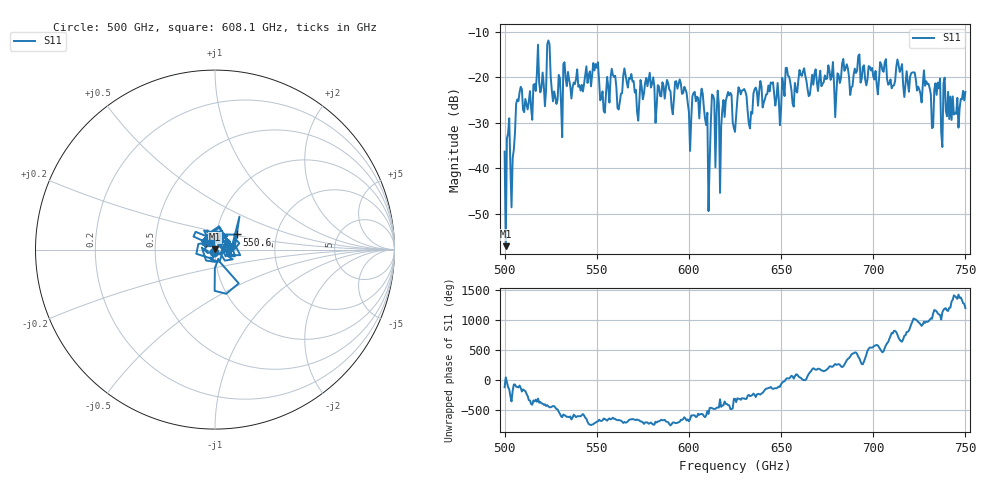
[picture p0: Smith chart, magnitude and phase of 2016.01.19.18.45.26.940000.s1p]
!Created with skrf (http://scikit-rf.org).
# GHz S RI R 50.0
!freq ReS11 ImS11
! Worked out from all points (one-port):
!   401 points, 500 GHz to 750 GHz, reference 50 ohm
!   lowest |S11| = -57.1 dB at 500.6 GHz (marker M1), VSWR 1.00, Z = 50.1 + j0.102 ohm
!   |S11| at or under -10 dB: start of sweep to end of sweep
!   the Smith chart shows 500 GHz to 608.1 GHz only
!   S11 on the Smith chart (normalised r, x): 500 GHz: 0.99, -0.03; 550.6 GHz: 1.25, +0.22; 608.1 GHz: 0.95, +0.08
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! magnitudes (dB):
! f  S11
! 500 GHz  -36.3
! 500.6 GHz  -57.1
! 504.4 GHz  -37.7
! 508.1 GHz  -23.3
! 513.8 GHz  -23.0
! 523.8 GHz  -11.9
! 526.9 GHz  -23.1
! 531.2 GHz  -33.1
! 550.6 GHz  -16.7
! 553.1 GHz  -23.1
! 558.8 GHz  -19.5
! 562.5 GHz  -25.4
! 593.8 GHz  -22.5
! 600 GHz  -27.6
! 608.1 GHz  -26.7
! 610.6 GHz  -49.4
! 612.5 GHz  -23.8
! 618.1 GHz  -27.1
! 621.2 GHz  -23.2
! 625 GHz  -32.0
! 628.1 GHz  -23.7
! 633.1 GHz  -31.2
! 653.8 GHz  -19.6
! 656.2 GHz  -25.8
! 687.5 GHz  -23.9
! 718.8 GHz  -21.1
! 745 GHz  -28.0
! 750 GHz  -23.2
